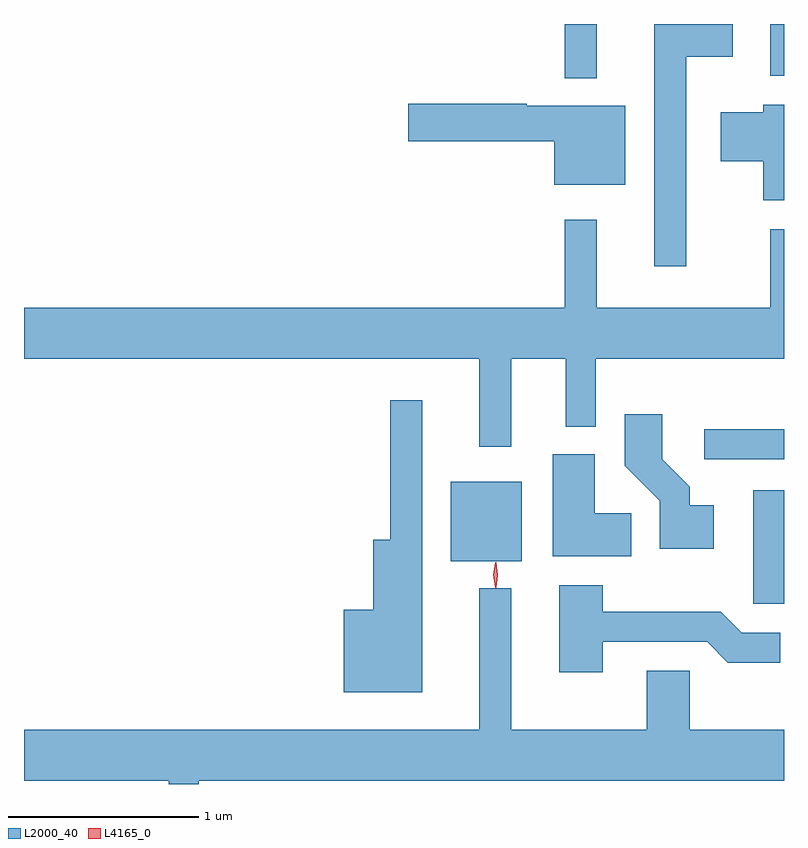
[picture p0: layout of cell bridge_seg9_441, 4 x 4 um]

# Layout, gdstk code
import gdstk
lib = gdstk.Library(unit=1e-6, precision=1e-09)
def R(c, l, rs):  # rectangles x0, y0, x1, y1
    for r in rs: c.add(gdstk.rectangle(r[:2], r[2:], *l))
def P(c, l, *ps):  # polygons
    for p in ps: c.add(gdstk.Polygon(p, *l))
L2000_40 = (2000, 40)
L4165_0 = (4165, 0)

bridge_seg9_441 = lib.new_cell('bridge_seg9_441')
R(bridge_seg9_441, L2000_40, [(410.961,1977.206,411.124,1977.804), (409.371,1977.431,409.744,1977.849), (410.703,1977.966,411.124,1978.124), (409.971,1979.973,410.139,1980.258), (411.051,1979.986,411.124,1980.258)])
P(bridge_seg9_441, L2000_40, [(410.609,1980.086),(410.854,1980.086),(410.854,1980.258),(410.441,1980.258),(410.441,1978.983),(410.609,1978.983)],
  [(410.289,1979.829),(409.77,1979.829),(409.77,1979.839),(409.146,1979.839),(409.146,1979.641),(409.916,1979.641),(409.916,1979.411),(410.289,1979.411)],
  [(411.124,1979.834),(411.016,1979.834),(411.016,1979.794),(410.791,1979.794),(410.791,1979.536),(411.016,1979.536),(411.016,1979.331),(411.124,1979.331)],
  [(409.689,1978.496),(409.976,1978.496),(409.976,1978.138),(410.134,1978.138),(410.134,1978.496),(411.124,1978.496),(411.124,1979.179),(411.051,1979.179),(411.051,1978.764),(410.139,1978.764),(410.139,1979.228),(409.971,1979.228),(409.971,1978.764),(407.124,1978.764),(407.124,1978.496),(409.521,1978.496),(409.521,1978.033),(409.689,1978.033)],
  [(409.219,1978.278),(409.051,1978.278),(409.051,1977.544),(408.961,1977.544),(408.961,1977.174),(408.806,1977.174),(408.806,1976.741),(409.219,1976.741)],
  [(410.754,1977.724),(410.629,1977.724),(410.629,1977.822),(410.484,1977.967),(410.484,1978.204),(410.286,1978.204),(410.286,1977.934),(410.471,1977.749),(410.471,1977.496),(410.754,1977.496)],
  [(410.319,1977.684),(410.129,1977.684),(410.129,1977.994),(409.906,1977.994),(409.906,1977.456),(410.319,1977.456)],
  [(410.169,1977.006),(410.719,1977.006),(410.829,1976.896),(411.103,1976.896),(411.103,1977.054),(410.902,1977.054),(410.792,1977.164),(410.169,1977.164),(410.169,1977.304),(409.941,1977.304),(409.941,1976.846),(410.169,1976.846)],
  [(408.044,1976.276),(411.124,1976.276),(411.124,1976.544),(410.629,1976.544),(410.629,1976.854),(410.401,1976.854),(410.401,1976.544),(409.689,1976.544),(409.689,1977.288),(409.521,1977.288),(409.521,1976.544),(407.124,1976.544),(407.124,1976.276),(407.886,1976.276),(407.886,1976.258),(408.044,1976.258)])
P(bridge_seg9_441, L4165_0, [(409.608,1977.289),(409.608,1977.29),(409.598,1977.358),(409.608,1977.425),(409.608,1977.426),(409.609,1977.425),(409.618,1977.358),(409.609,1977.29)],
  [(409.605,1977.293),(409.605,1977.293),(409.595,1977.357),(409.605,1977.422),(409.605,1977.422),(409.606,1977.422),(409.615,1977.357),(409.606,1977.293)])

lib.write_gds('bridge_seg9_441.gds')
